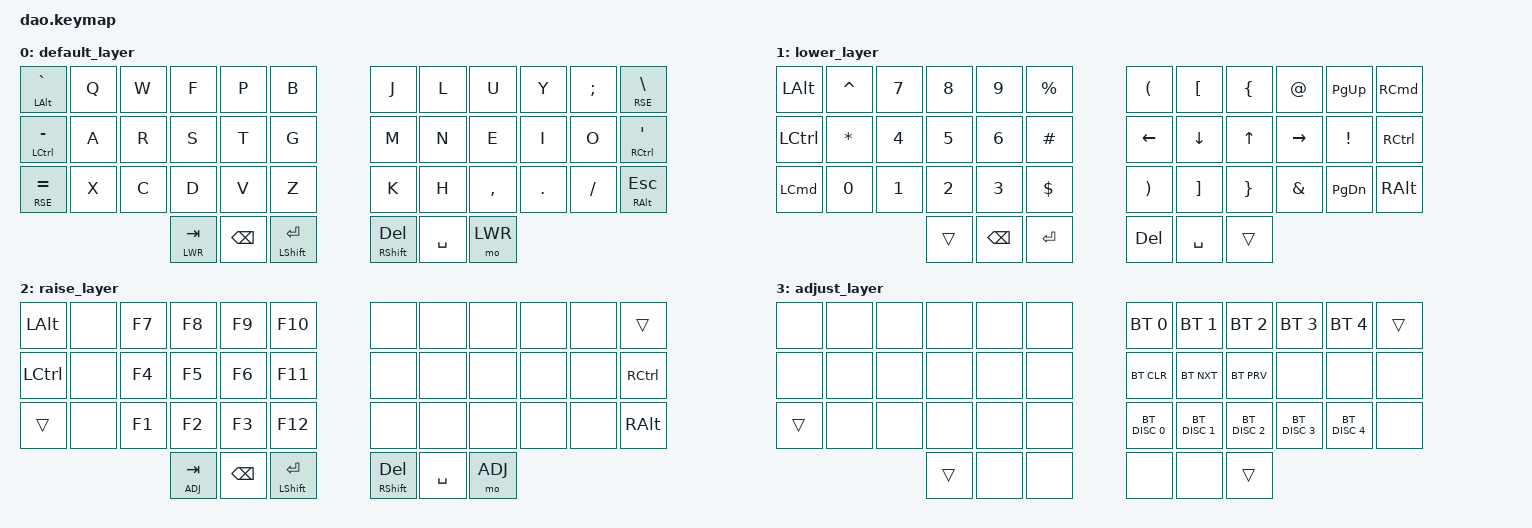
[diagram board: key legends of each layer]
/*
 * Copyright (c) 2021 Rafael Yumagulov
 * edited by Stefan Badelt
 *
 * SPDX-License-Identifier: MIT
 */

#include <behaviors.dtsi>
#include <dt-bindings/zmk/keys.h>
#include <dt-bindings/zmk/bt.h>

#define DEF 0
#define LWR 1
#define RSE 2
#define ADJ 3

&lt { quick_tap_ms = <200>; };
&mt { quick_tap_ms = <200>; };

/ {
    chosen {
        zmk,matrix_transform = &default_transform;
        // zmk,matrix_transform = &extra_keys_transform;
    };
};

/ {
    keymap {
        compatible = "zmk,keymap";

        default_layer {
            bindings = <
  &mt LALT GRAVE   &kp Q  &kp W  &kp F      &kp P          &kp B            &kp J             &kp L      &kp U      &kp Y       &kp SEMICOLON  &lt RSE BACKSLASH
  &mt LCTRL MINUS  &kp A  &kp R  &kp S      &kp T          &kp G            &kp M             &kp N      &kp E      &kp I       &kp O          &mt RCTRL SQT
  &lt RSE EQUAL      &kp X  &kp C  &kp D      &kp V          &kp Z            &kp K             &kp H      &kp COMMA  &kp PERIOD  &kp SLASH      &mt RALT ESCAPE
                                 &lt LWR TAB  &kp BACKSPACE  &mt LSHFT RET    &mt RSHFT DEL  &kp SPACE  &mo LWR
            >;
        };

        lower_layer {
            bindings = <
  &kp LALT          &kp CARET  &kp NUMBER_7  &kp NUMBER_8  &kp N9         &kp PERCENT    &kp LEFT_PARENTHESIS   &kp LEFT_BRACKET   &kp LEFT_BRACE   &kp AT           &kp PAGE_UP      &kp RIGHT_COMMAND
  &kp LCTRL         &kp ASTRK  &kp N4        &kp NUMBER_5  &kp N6         &kp HASH       &kp LEFT_ARROW         &kp DOWN_ARROW     &kp UP_ARROW     &kp RIGHT_ARROW  &kp EXCLAMATION  &kp RCTRL
  &kp LEFT_COMMAND  &kp N0     &kp NUMBER_1  &kp NUMBER_2  &kp N3         &kp DOLLAR     &kp RIGHT_PARENTHESIS  &kp RIGHT_BRACKET  &kp RIGHT_BRACE  &kp AMPERSAND    &kp PAGE_DOWN    &kp RALT
                                             &trans        &kp BACKSPACE  &kp RET        &kp DEL                &kp SPACE          &trans
            >;
        };

        raise_layer {
            bindings = <
  &kp LALT     &none  &kp F7  &kp F8   &kp F9         &kp F10          &none          &none      &none       &none  &none  &trans
  &kp LCTRL  &none  &kp F4  &kp F5   &kp F6         &kp F11          &none          &none      &none       &none  &none  &kp RCTRL
  &trans   &none  &kp F1  &kp F2   &kp F3         &kp F12          &none          &none      &none       &none  &none  &kp RALT
                            &lt ADJ TAB  &kp BACKSPACE  &mt LSHFT RET    &mt RSHFT DEL  &kp SPACE  &mo ADJ
            >;
        };
        adjust_layer {
            bindings = <
  &none      &none     &none          &none          &none          &none           &bt BT_SEL 0       &bt BT_SEL 1      &bt BT_SEL 2      &bt BT_SEL 3     &bt BT_SEL 4   &trans
  &none      &none     &none          &none          &none          &none           &bt BT_CLR         &bt BT_NXT        &bt BT_PRV        &none          &none            &none
  &trans      &none     &none          &none          &none          &none           &bt BT_DISC 0      &bt BT_DISC 1     &bt BT_DISC 2      &bt BT_DISC 3     &bt BT_DISC 4 &none
                            &trans  &none  &none     &none   &none   &trans
            >;
        };
    };
};
